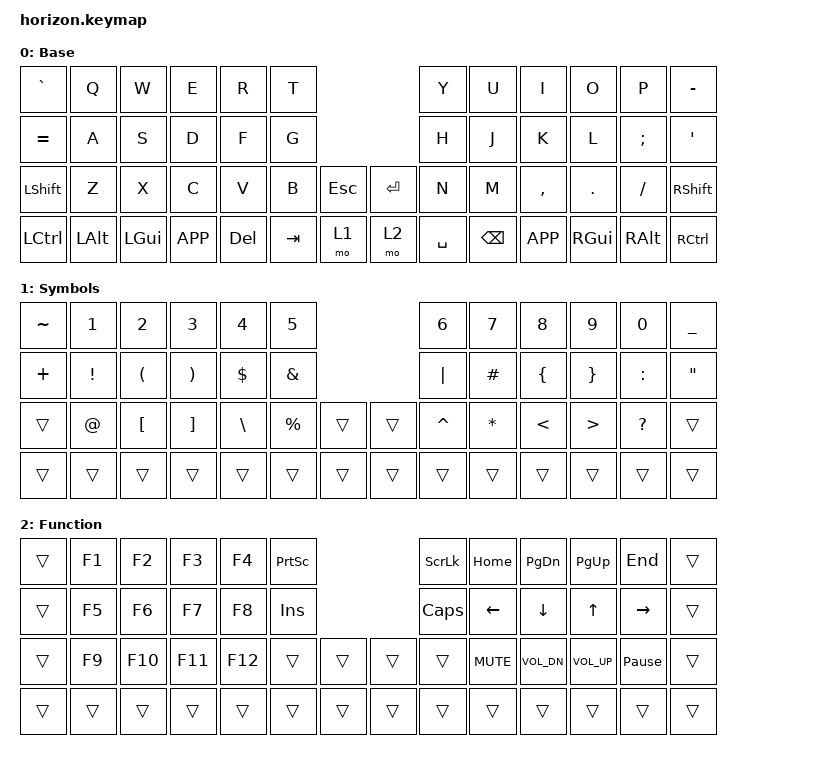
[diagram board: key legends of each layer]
/*
 * Copyright (c) 2021 The ZMK Contributors
 *
 * SPDX-License-Identifier: MIT
 */

#include <behaviors.dtsi>
#include <dt-bindings/zmk/keys.h>
#include <dt-bindings/zmk/bt.h>

/ {
    keymap {
        compatible = "zmk,keymap";

        default_layer {
            display-name = "Base";
            // -----------------------------------------------------------------------------------------------------------------
            // |   `   |   Q   |   W   |   E   |   R   |   T   |---------------|   Y   |   U   |   I   |   O   |   P   |   -   |
            // |   =   |   A   |   S   |   D   |   F   |   G   |---------------|   H   |   J   |   K   |   L   |   ;   |   '   |
            // | LSHFT |   Z   |   X   |   C   |   V   |   B   |  ESC  | ENTER |   N   |   M   |   ,   |   .   |   /   | RSHFT |
            // | LCTRL | LALT  | LGUI  | K_APP |  DEL  |  TAB  |  MO1  |  MO2  | SPACE | BSPC  | K_APP | RGUI  | RALT  | RCTRL |
            bindings = <
                &kp GRAVE &kp Q    &kp W    &kp E     &kp R   &kp T                     &kp Y     &kp U    &kp I     &kp O   &kp P     &kp MINUS
                &kp EQUAL &kp A    &kp S    &kp D     &kp F   &kp G                     &kp H     &kp J    &kp K     &kp L   &kp SEMI  &kp SQT
                &kp LSHFT &kp Z    &kp X    &kp C     &kp V   &kp B   &kp ESC &kp RET   &kp N     &kp M    &kp COMMA &kp DOT &kp SLASH &kp RSHFT
                &kp LCTRL &kp LALT &kp LGUI &kp K_APP &kp DEL &kp TAB &mo 1   &mo 2     &kp SPACE &kp BSPC &kp K_APP &kp RGUI &kp RALT &kp RCTRL
            >;
        };

        symbol_layer {
            display-name = "Symbols";
            // -----------------------------------------------------------------------------------------------------------------
            // |   ~   |   !   |   @   |   #   |   $   |   %   |---------------|   ^   |   &   |   *   |   (   |   )   |   _   |
            // |   +   |   !   |   (   |   )   |   $   |   &   |---------------|   |   |   #   |   {   |   }   |   :   |   "   |
            // |       |   @   |   [   |   ]   |   \   |   %   |       |       |   ^   |   *   |   <   |   >   |   ?   |       |
            // |       |       |       |       |       |       |       |       |       |       |       |       |       |       |
            bindings = <
                &kp TILDE &kp N1   &kp N2   &kp N3   &kp N4   &kp N5                  &kp N6    &kp N7   &kp N8   &kp N9   &kp N0    &kp UNDER
                &kp PLUS  &kp EXCL &kp LPAR &kp RPAR &kp DLLR &kp AMPS                &kp PIPE  &kp HASH &kp LBRC &kp RBRC &kp COLON &kp DQT
                &trans    &kp AT   &kp LBKT &kp RBKT &kp BSLH &kp PRCNT &trans &trans &kp CARET &kp STAR &kp LT   &kp GT   &kp QMARK &trans
                &trans    &trans   &trans   &trans   &trans   &trans    &trans &trans &trans    &trans   &trans   &trans   &trans    &trans
            >;
        };

        function_layer {
            display-name = "Function";
            // -----------------------------------------------------------------------------------------------------------------
            // |       |  F1   |  F2   |  F3   |  F4   | PSCRN |---------------| SLCK  | HOME  | PG_DN | PG_UP |  END  |       |
            // |       |  F5   |  F6   |  F7   |  F8   |  INS  |---------------| CAPS  | LEFT  | DOWN  |  UP   | RIGHT |       |
            // |       |  F9   |  F10  |  F11  |  F12  |       |       |       |       | MUTE  | VOL-  | VOL+  | PAUSE |       |
            // |       |       |       |       |       |       |       |       |       |       |       |       |       |       |
            bindings = <
                &trans &kp F1 &kp F2  &kp F3  &kp F4  &kp PSCRN                        &kp SLCK &kp HOME &kp PG_DN    &kp PG_UP    &kp END   &trans
                &trans &kp F5 &kp F6  &kp F7  &kp F8  &kp INS                          &kp CAPS &kp LEFT &kp DOWN     &kp UP       &kp RIGHT &trans
                &trans &kp F9 &kp F10 &kp F11 &kp F12 &trans       &trans     &trans   &trans   &kp C_MUTE &kp C_VOL_DN &kp C_VOL_UP &kp PAUSE_BREAK &trans
                &trans &trans &trans  &trans  &trans  &trans       &trans     &trans   &trans   &trans   &trans       &trans       &trans    &trans
            >;
        };
    };
};
